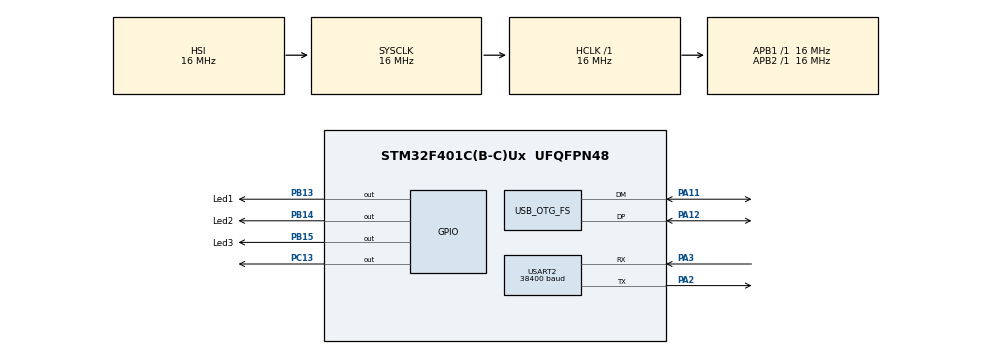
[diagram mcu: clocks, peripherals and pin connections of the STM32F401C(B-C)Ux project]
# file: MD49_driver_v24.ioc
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Mcu.Family=STM32F4
Mcu.Name=STM32F401C(B-C)Ux
Mcu.Package=UFQFPN48
NVIC.OTG_FS_IRQn=true\:0\:0\:false\:false\:true\:false\:true\:true
NVIC.PriorityGroup=NVIC_PRIORITYGROUP_4
NVIC.USART2_IRQn=true\:0\:0\:false\:false\:true\:true\:true\:true
PA11.Mode=Device_Only
PA11.Signal=USB_OTG_FS_DM
PA12.Mode=Device_Only
PA12.Signal=USB_OTG_FS_DP
PA2.Mode=Asynchronous
PA2.Signal=USART2_TX
PA3.Mode=Asynchronous
PA3.Signal=USART2_RX
PB13.GPIO_Label=Led1
PB13.Signal=GPIO_Output
PB14.GPIO_Label=Led2
PB14.Signal=GPIO_Output
PB15.GPIO_Label=Led3
PB15.Signal=GPIO_Output
PC13-ANTI_TAMP.Signal=GPIO_Output
PH0\ -\ OSC_IN.Mode=HSE-External-Oscillator
PH0\ -\ OSC_IN.Signal=RCC_OSC_IN
PH1\ -\ OSC_OUT.Mode=HSE-External-Oscillator
PH1\ -\ OSC_OUT.Signal=RCC_OSC_OUT
ProjectManager.HeapSize=0x200
ProjectManager.StackSize=0x400
ProjectManager.TargetToolchain=STM32CubeIDE
RCC.48MHZClocksFreq_Value=48000000
RCC.AHBFreq_Value=16000000
RCC.APB1Freq_Value=16000000
RCC.APB2Freq_Value=16000000
RCC.CortexFreq_Value=16000000
RCC.HSE_VALUE=25000000
RCC.HSI_VALUE=16000000
RCC.LSE_VALUE=32768
RCC.PLLM=15
RCC.PLLN=144
RCC.PLLQ=5
RCC.SYSCLKFreq_VALUE=16000000
RCC.VCOOutputFreq_Value=240000000
USART2.BaudRate=38400
USART2.VirtualMode=VM_ASYNC
USB_DEVICE.CLASS_NAME_FS=CDC
USB_DEVICE.VirtualMode=Cdc
USB_DEVICE.VirtualModeFS=Cdc_FS
USB_OTG_FS.VirtualMode=Device_Only
VP_USB_DEVICE_VS_USB_DEVICE_CDC_FS.Mode=CDC_FS
board=custom

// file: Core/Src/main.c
/* USER CODE BEGIN Header */
/**
  ******************************************************************************
  * @file           : main.c
  * @brief          : Main program body
  ******************************************************************************
  * @attention
  *
  * Copyright (c) 2026 STMicroelectronics.
  * All rights reserved.
  *
  * This software is licensed under terms that can be found in the LICENSE file
  * in the root directory of this software component.
  * If no LICENSE file comes with this software, it is provided AS-IS.
  *
  ******************************************************************************
  */
/* USER CODE END Header */
#include "main.h"
#include "usb_device.h"

/* USER CODE BEGIN Includes */
#include "usbd_cdc_if.h"
#include "MD49.h"
#include <stdio.h>
#include <string.h>
/* USER CODE END Includes */

UART_HandleTypeDef huart2;

/* USER CODE BEGIN PV */
extern UART_HandleTypeDef huart2;
char msg_usb[200];

char Buffer_rx[64];
uint8_t string_ready = 0;
uint8_t vel_r=128, vel_l=128;

int cnt=0;

/* USER CODE END PV */

void SystemClock_Config(void);
static void MX_GPIO_Init(void);
static void MX_USART2_UART_Init(void);

int main(void)
{

  /* MCU Configuration--------------------------------------------------------*/

  /* Reset of all peripherals, Initializes the Flash interface and the Systick. */
  HAL_Init();

  /* Configure the system clock */
  SystemClock_Config();

  /* Initialize all configured peripherals */
  MX_GPIO_Init();
  MX_USB_DEVICE_Init();
  MX_USART2_UART_Init();
  /* USER CODE BEGIN 2 */

  MD49_ExCmd(&huart2, MD49_CMD_RESET_ENCODERS, NULL, 0, NULL, 0);

  /* USER CODE END 2 */

  /* Infinite loop */
  while (1)
  {

    /* USER CODE BEGIN 3 */

	  uint8_t ac, ver, mod, t_err;
	  int temp_r, temp_l;
	  float enc1, enc2, v, i1, i2;

	  if (string_ready)
	  {
		  int n_var = sscanf((char*)&Buffer_rx[1], "%i,%i", &temp_r, &temp_l);
		  memset(Buffer_rx, 0, sizeof(Buffer_rx));
		  string_ready = 0;

		  if (n_var == 2)
		  {
			  vel_r = (uint8_t)temp_r;
			  vel_l = (uint8_t)temp_l;

		  }
		  else
		  {
			  sprintf(msg_usb, "error: n_var read are %d\r\n", n_var);
			  CDC_Transmit_FS((uint8_t*) msg_usb, strlen(msg_usb));
		  }
	  }

	  MD49_GetState(&huart2, &ver, &mod, &v, &i1, &i2, &t_err, &ac);
	  MD49_GetVelocity(&huart2, &enc1, &enc2);

	  MD49_SetSpeedMotors(&huart2, &vel_r, &vel_l);

	  /*sprintf(msg_usb, "velocidades %i | %i  - buffer: %s \r\n", vel_r, vel_l, Buffer_rx);
	  sprintf(msg_usb, "V20 cnt:%li || V:%d - I1:%d - I2:%d - err:%d - mod:%d - ac:%d | enc1:%f  enc2:%f | vel1:%d  vel2:%d  \r\n",
	  			  cnt, v, i1, i2, t_err, mod, ac, enc1, enc2, vel1, vel2);*/

	  if (cnt >= 5)
	  {
		  HAL_GPIO_TogglePin(GPIOC, GPIO_PIN_13);
		  HAL_GPIO_TogglePin(GPIOB, Led1_Pin);
		  cnt = 0;
	  }

	  sprintf(msg_usb, "E,%f,%f;V,%f;I,%f,%f;S,%d,%d,%d\r\n", enc1, enc2, v, i1, i2, t_err, mod, ac);
	  CDC_Transmit_FS((uint8_t*) msg_usb, strlen(msg_usb));
	  HAL_Delay(10);
	  cnt++;

  }
  /* USER CODE END 3 */
}

void SystemClock_Config(void)
{
  RCC_OscInitTypeDef RCC_OscInitStruct = {0};
  RCC_ClkInitTypeDef RCC_ClkInitStruct = {0};

  /** Configure the main internal regulator output voltage
  */
  __HAL_RCC_PWR_CLK_ENABLE();
  __HAL_PWR_VOLTAGESCALING_CONFIG(PWR_REGULATOR_VOLTAGE_SCALE2);

  /** Initializes the RCC Oscillators according to the specified parameters
  * in the RCC_OscInitTypeDef structure.
  */
  RCC_OscInitStruct.OscillatorType = RCC_OSCILLATORTYPE_HSI|RCC_OSCILLATORTYPE_HSE;
  RCC_OscInitStruct.HSEState = RCC_HSE_ON;
  RCC_OscInitStruct.HSIState = RCC_HSI_ON;
  RCC_OscInitStruct.HSICalibrationValue = RCC_HSICALIBRATION_DEFAULT;
  RCC_OscInitStruct.PLL.PLLState = RCC_PLL_ON;
  RCC_OscInitStruct.PLL.PLLSource = RCC_PLLSOURCE_HSE;
  RCC_OscInitStruct.PLL.PLLM = 15;
  RCC_OscInitStruct.PLL.PLLN = 144;
  RCC_OscInitStruct.PLL.PLLP = RCC_PLLP_DIV2;
  RCC_OscInitStruct.PLL.PLLQ = 5;
  if (HAL_RCC_OscConfig(&RCC_OscInitStruct) != HAL_OK)
  {
    Error_Handler();
  }

  /** Initializes the CPU, AHB and APB buses clocks
  */
  RCC_ClkInitStruct.ClockType = RCC_CLOCKTYPE_HCLK|RCC_CLOCKTYPE_SYSCLK
                              |RCC_CLOCKTYPE_PCLK1|RCC_CLOCKTYPE_PCLK2;
  RCC_ClkInitStruct.SYSCLKSource = RCC_SYSCLKSOURCE_HSI;
  RCC_ClkInitStruct.AHBCLKDivider = RCC_SYSCLK_DIV1;
  RCC_ClkInitStruct.APB1CLKDivider = RCC_HCLK_DIV1;
  RCC_ClkInitStruct.APB2CLKDivider = RCC_HCLK_DIV1;

  if (HAL_RCC_ClockConfig(&RCC_ClkInitStruct, FLASH_LATENCY_0) != HAL_OK)
  {
    Error_Handler();
  }
}

static void MX_USART2_UART_Init(void)
{

  huart2.Instance = USART2;
  huart2.Init.BaudRate = 38400;
  huart2.Init.WordLength = UART_WORDLENGTH_8B;
  huart2.Init.StopBits = UART_STOPBITS_1;
  huart2.Init.Parity = UART_PARITY_NONE;
  huart2.Init.Mode = UART_MODE_TX_RX;
  huart2.Init.HwFlowCtl = UART_HWCONTROL_NONE;
  huart2.Init.OverSampling = UART_OVERSAMPLING_16;
  if (HAL_UART_Init(&huart2) != HAL_OK)
  {
    Error_Handler();
  }

}

static void MX_GPIO_Init(void)
{
  GPIO_InitTypeDef GPIO_InitStruct = {0};

  /* GPIO Ports Clock Enable */
  __HAL_RCC_GPIOC_CLK_ENABLE();
  __HAL_RCC_GPIOH_CLK_ENABLE();
  __HAL_RCC_GPIOA_CLK_ENABLE();
  __HAL_RCC_GPIOB_CLK_ENABLE();

  /*Configure GPIO pin Output Level */
  HAL_GPIO_WritePin(GPIOC, GPIO_PIN_13, GPIO_PIN_RESET);

  /*Configure GPIO pin Output Level */
  HAL_GPIO_WritePin(GPIOB, Led1_Pin|Led2_Pin|Led3_Pin, GPIO_PIN_RESET);

  /*Configure GPIO pin : PC13 */
  GPIO_InitStruct.Pin = GPIO_PIN_13;
  GPIO_InitStruct.Mode = GPIO_MODE_OUTPUT_PP;
  GPIO_InitStruct.Pull = GPIO_NOPULL;
  GPIO_InitStruct.Speed = GPIO_SPEED_FREQ_LOW;
  HAL_GPIO_Init(GPIOC, &GPIO_InitStruct);

  /*Configure GPIO pins : Led1_Pin Led2_Pin Led3_Pin */
  GPIO_InitStruct.Pin = Led1_Pin|Led2_Pin|Led3_Pin;
  GPIO_InitStruct.Mode = GPIO_MODE_OUTPUT_PP;
  GPIO_InitStruct.Pull = GPIO_NOPULL;
  GPIO_InitStruct.Speed = GPIO_SPEED_FREQ_LOW;
  HAL_GPIO_Init(GPIOB, &GPIO_InitStruct);

}

void Error_Handler(void)
{
  __disable_irq();
  while (1)
  {
  }
}
